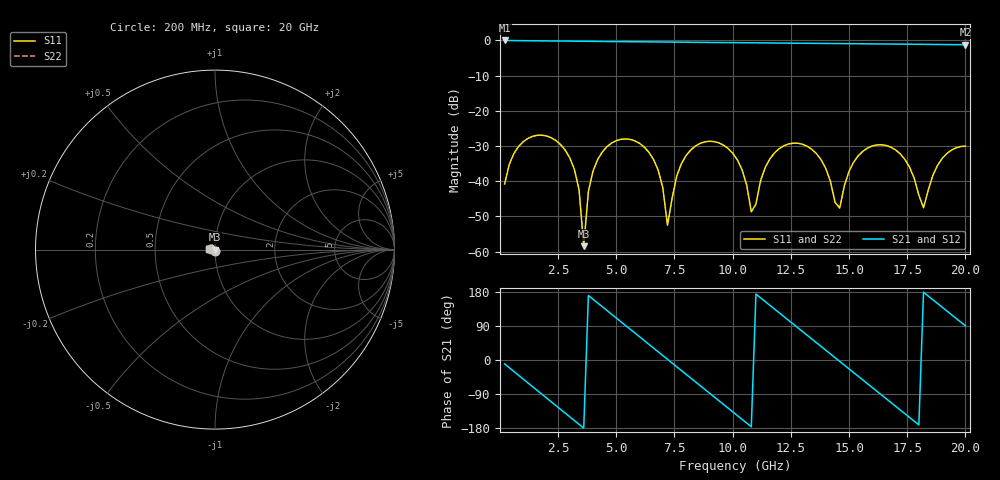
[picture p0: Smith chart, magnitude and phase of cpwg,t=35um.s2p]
! Created Wed Jun  1 10:21:40 2022
# hz S ma R 50
! 2 Port Network Data from SP1.SP block
! freq  magS11  angS11  magS21  angS21  magS12  angS12  magS22  angS22
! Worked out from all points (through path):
!   100 points, 200 MHz to 20 GHz, reference 50 ohm
!   highest |S21| = -0.02 dB at 200 MHz (marker M1); lowest = -1.2 dB at 20 GHz (marker M2)
!   group delay of S21, straight-line fit = 137 ps
!   lowest |S11| = -58.5 dB at 3.6 GHz (marker M3), VSWR 1.00, Z = 49.9 + j0.0308 ohm
!   |S11| at or under -10 dB: start of sweep to end of sweep
!   |S22| runs from -58.5 to -26.9 dB; largest |S21 - S12| = 0
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2e8  0.009098 -101.8  0.9975 -10.2  0.9975 -10.2  0.009098 -101.8
1.4e9  0.04332 -166.8  0.987 -70.3  0.987 -70.3  0.04332 -166.8
2.4e9  0.03789 143.3  0.9801 -120.1  0.9801 -120.1  0.03789 143.3
3.2e9  0.01463 106.2  0.9749 -159.9  0.9749 -159.9  0.01463 106.2
3.6e9  0.001193 165.0  0.9721 -179.8  0.9721 -179.8  0.001193 165.0
4e9  0.01399 -122.9  0.9692 160.3  0.9692 160.3  0.01399 -122.9
4.6e9  0.03094 -149.6  0.9647 130.6  0.9647 130.6  0.03094 -149.6
5.6e9  0.03918 162.6  0.9577 81.0  0.9577 81.0  0.03918 162.6
6.8e9  0.0143 109.7  0.9503 21.6  0.9503 21.6  0.0143 109.7
7.2e9  0.002364 142.8  0.9477 1.8  0.9477 1.8  0.002364 142.8
8.2e9  0.02779 -150.4  0.9406 -47.7  0.9406 -47.7  0.02779 -150.4
9.2e9  0.03652 163.6  0.934 -97.1  0.934 -97.1  0.03652 163.6
1.02e10  0.02006 120.0  0.9281 -146.6  0.9281 -146.6  0.02006 120.0
1.08e10  0.00367 133.7  0.9243 -176.2  0.9243 -176.2  0.00367 133.7
1.18e10  0.02526 -150.5  0.9176 134.4  0.9176 134.4  0.02526 -150.5
1.34e10  0.02838 138.9  0.9077 55.5  0.9077 55.5  0.02838 138.9
1.46e10  0.004153 -162.2  0.9005 -3.7  0.9005 -3.7  0.004153 -162.2
1.54e10  0.02303 -150.5  0.8953 -43.2  0.8953 -43.2  0.02303 -150.5
1.68e10  0.03041 149.8  0.8868 -112.2  0.8868 -112.2  0.03041 149.8
1.82e10  0.00419 176.9  0.8788 178.8  0.8788 178.8  0.00419 176.9
1.9e10  0.021 -150.5  0.8738 139.4  0.8738 139.4  0.021 -150.5
2e10  0.03151 169.1  0.8678 90.2  0.8678 90.2  0.03151 169.1
